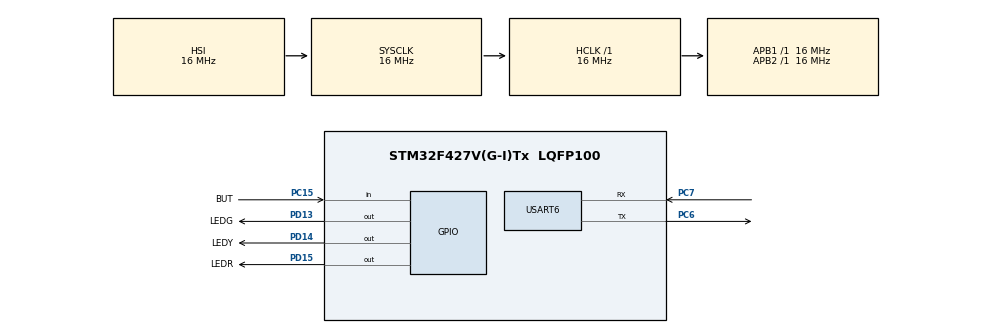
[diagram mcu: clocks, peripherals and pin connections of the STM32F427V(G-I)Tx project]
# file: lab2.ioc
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Mcu.Family=STM32F4
Mcu.Name=STM32F427V(G-I)Tx
Mcu.Package=LQFP100
NVIC.PriorityGroup=NVIC_PRIORITYGROUP_4
NVIC.TIM1_UP_TIM10_IRQn=true\:0\:0\:false\:false\:true\:true\:true\:true
NVIC.USART6_IRQn=true\:0\:0\:false\:false\:true\:true\:true\:true
PA10.Signal=S_TIM1_CH3
PA13.Mode=JTAG_5_pins
PA13.Signal=SYS_JTMS-SWDIO
PA14.Mode=JTAG_5_pins
PA14.Signal=SYS_JTCK-SWCLK
PA15.Mode=JTAG_5_pins
PA15.Signal=SYS_JTDI
PB3.Mode=JTAG_5_pins
PB3.Signal=SYS_JTDO-SWO
PB4.Mode=JTAG_5_pins
PB4.Signal=SYS_JTRST
PC15/OSC32_OUT.GPIO_Label=BUT
PC15/OSC32_OUT.Signal=GPIO_Input
PC6.Mode=Asynchronous
PC6.Signal=USART6_TX
PC7.Mode=Asynchronous
PC7.Signal=USART6_RX
PD13.GPIO_Label=LEDG
PD13.Signal=GPIO_Output
PD14.GPIO_Label=LEDY
PD14.Signal=GPIO_Output
PD15.GPIO_Label=LEDR
PD15.Signal=GPIO_Output
PH0/OSC_IN.Mode=HSE-External-Oscillator
PH0/OSC_IN.Signal=RCC_OSC_IN
PH1/OSC_OUT.Mode=HSE-External-Oscillator
PH1/OSC_OUT.Signal=RCC_OSC_OUT
ProjectManager.HeapSize=0x200
ProjectManager.StackSize=0x400
ProjectManager.TargetToolchain=STM32CubeIDE
RCC.AHBFreq_Value=16000000
RCC.APB1Freq_Value=16000000
RCC.APB2Freq_Value=16000000
RCC.CortexFreq_Value=16000000
RCC.HSE_VALUE=25000000
RCC.HSI_VALUE=16000000
RCC.LSE_VALUE=32768
RCC.SYSCLKFreq_VALUE=16000000
RCC.VCOOutputFreq_Value=192000000
SH.S_TIM1_CH3.0=TIM1_CH3
TIM1.Channel-Output\ Compare3\ No\ Output=TIM_CHANNEL_3
TIM1.Period=15-1
TIM1.Prescaler=16000-1
USART6.VirtualMode=VM_ASYNC
VP_TIM1_VS_no_output3.Mode=Output Compare3 No Output
board=custom

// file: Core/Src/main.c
/* USER CODE BEGIN Header */
/**
  ******************************************************************************
  * @file           : main.c
  * @brief          : Main program body
  ******************************************************************************
  * @attention
  *
  * Copyright (c) 2023 STMicroelectronics.
  * All rights reserved.
  *
  * This software is licensed under terms that can be found in the LICENSE file
  * in the root directory of this software component.
  * If no LICENSE file comes with this software, it is provided AS-IS.
  *
  ******************************************************************************
  */
/* USER CODE END Header */
#include "main.h"

/* USER CODE BEGIN Includes */
#include "leds.h"
#include "morze.h"
#include "uart_irq.h"
/* USER CODE END Includes */

/* USER CODE BEGIN PTD */
#define LONG_PERIOD_CT 125
#define BETWEEN_LETTERS_PERIOD_CT 250
#define BUFFER_SIZE 2048
#define DEFAULT_DELAY 50
#define ERROR_DELAY 600
#define ERROR_COUNT 2
#define COMMA_DELAY DEFAULT_DELAY
#define DASH_DELAY 100
/* USER CODE END PTD */

TIM_HandleTypeDef htim1;

UART_HandleTypeDef huart6;

/* USER CODE BEGIN PV */
int is_pressed = 0; // нажата ли кнопка, устанавливается в таймере
int is_wait_unpressed = 0; // ожидаем ли отпускание кнопки
int is_reading = 1; // есть ли что в памяти чтобы читать (можно pointer сделать глобальным и проверять на ноль
int count_tick = 0; // кол-во тиков таймера в текущем состоянии is_pressed, устанавливается в таймере
int noisy = 0; // доп проверка для дребезга
int has_irq = 0; //есть ли прерывания сейчас
int dash_delay = 0; // пауза тире
int comma_delay = 0; // пауза точки
int is_green = 0; // горит ли зелёный светодиод
int default_delay = 0; //пауза между символами

int buffer[BUFFER_SIZE] = {0}; //нули и единицы с кнопки
int buf_ptr = 0;

int int_w_buf[BUFFER_SIZE] = {0}; //конвертированные данные с uart
int int_w_ptr = 0;
int writing_ptr = 0; //указатель на текущий конец сообщения
int current_write_ptr = 0; // в каком месте буфера мы сейчас печатаем
/* USER CODE END PV */

void SystemClock_Config(void);
static void MX_GPIO_Init(void);
static void MX_TIM1_Init(void);
static void MX_USART6_UART_Init(void);

int main(void)
{

  /* MCU Configuration--------------------------------------------------------*/

  /* Reset of all peripherals, Initializes the Flash interface and the Systick. */
  HAL_Init();

  /* Configure the system clock */
  SystemClock_Config();

  /* Initialize all configured peripherals */
  MX_GPIO_Init();
  MX_TIM1_Init();
  MX_USART6_UART_Init();

  /* Infinite loop */
  /* USER CODE BEGIN WHILE */
  uint8_t str = '2';
  has_irq = 0;

  HAL_TIM_Base_Start_IT((TIM_HandleTypeDef *)&htim1);
  while (1)
  {
	  int ret = receive_uart(&huart6, &str, has_irq);
	  if (ret > 0) { //есть что сконвертировать в 0 и 1
			char* res = char_to_morze(str);
			if (res[0] == '+') {
				has_irq = (has_irq + 1) % 2;
				if (has_irq == 1) {
					send_buffer_if_not_empty_IT(&huart6);
					NVIC_EnableIRQ(USART6_IRQn); // enable interrupts
				} else NVIC_DisableIRQ(USART6_IRQn); // disable interrupts
			}else if(res[0] == '-') {
				//char i = '!';
				//send_uart(&huart6, &i , 1, has_irq);
			} else {
				for (int i = 0; i < strlen(res); i++) {
					int_w_buf[writing_ptr] = res[i] - '0';
					writing_ptr++;
				}
			}

	  }
	  if (0 == is_pressed && 0 == is_wait_unpressed) { // нопка не нажата
		  if (buf_ptr != 0 && count_tick > BETWEEN_LETTERS_PERIOD_CT) {
			  uint8_t to_write = morze_to_str(buffer, buf_ptr);
			  buf_ptr = 0;
			  send_uart(&huart6, &to_write, 1, has_irq);
		  }
	  } else if (0 == is_pressed && 1 == is_wait_unpressed) { //кнопку отпустили
		 is_wait_unpressed = 0;
		 if (count_tick > LONG_PERIOD_CT) { // вносим 1 или 0 в буфер на отправку
			 turn_on_red_led();
			 HAL_Delay(DEFAULT_DELAY);
			 turn_off_red_led();
			 buffer[buf_ptr] = 1;
		 } else {
			 turn_on_yellow_led();
			 HAL_Delay(DEFAULT_DELAY);
			 turn_off_yellow_led();
			 buffer[buf_ptr] = 0;
		 }
		 count_tick = 0;
		 buf_ptr++;
		 if (BUFFER_SIZE == buf_ptr) {
			 for (int i = 0; i < ERROR_COUNT; i++) { //если буфер переполнится
				 turn_on_red_led();
				 turn_on_green_led();
				 HAL_Delay(ERROR_DELAY);
				 turn_off_red_led();
				 turn_off_green_led();
				 HAL_Delay(ERROR_DELAY);
			 }
			 buf_ptr = 0;
		 }
	  } else if (1 == is_pressed && 0 == is_wait_unpressed) { //кнопку нажали -- ждём когда отпустят
		  is_wait_unpressed = 1;
		  count_tick = 0;
	  }

	  send_buffer_if_not_empty(&huart6);
  }

  /* USER CODE END 3 */
}

void SystemClock_Config(void)
{
  RCC_OscInitTypeDef RCC_OscInitStruct = {0};
  RCC_ClkInitTypeDef RCC_ClkInitStruct = {0};

  /** Configure the main internal regulator output voltage
  */
  __HAL_RCC_PWR_CLK_ENABLE();
  __HAL_PWR_VOLTAGESCALING_CONFIG(PWR_REGULATOR_VOLTAGE_SCALE3);

  /** Initializes the RCC Oscillators according to the specified parameters
  * in the RCC_OscInitTypeDef structure.
  */
  RCC_OscInitStruct.OscillatorType = RCC_OSCILLATORTYPE_HSI;
  RCC_OscInitStruct.HSIState = RCC_HSI_ON;
  RCC_OscInitStruct.HSICalibrationValue = RCC_HSICALIBRATION_DEFAULT;
  RCC_OscInitStruct.PLL.PLLState = RCC_PLL_NONE;
  if (HAL_RCC_OscConfig(&RCC_OscInitStruct) != HAL_OK)
  {
    Error_Handler();
  }

  /** Initializes the CPU, AHB and APB buses clocks
  */
  RCC_ClkInitStruct.ClockType = RCC_CLOCKTYPE_HCLK|RCC_CLOCKTYPE_SYSCLK
                              |RCC_CLOCKTYPE_PCLK1|RCC_CLOCKTYPE_PCLK2;
  RCC_ClkInitStruct.SYSCLKSource = RCC_SYSCLKSOURCE_HSI;
  RCC_ClkInitStruct.AHBCLKDivider = RCC_SYSCLK_DIV1;
  RCC_ClkInitStruct.APB1CLKDivider = RCC_HCLK_DIV1;
  RCC_ClkInitStruct.APB2CLKDivider = RCC_HCLK_DIV1;

  if (HAL_RCC_ClockConfig(&RCC_ClkInitStruct, FLASH_LATENCY_0) != HAL_OK)
  {
    Error_Handler();
  }
}

static void MX_TIM1_Init(void)
{

  TIM_MasterConfigTypeDef sMasterConfig = {0};
  TIM_OC_InitTypeDef sConfigOC = {0};
  TIM_BreakDeadTimeConfigTypeDef sBreakDeadTimeConfig = {0};

  htim1.Instance = TIM1;
  htim1.Init.Prescaler = 16000-1;
  htim1.Init.CounterMode = TIM_COUNTERMODE_UP;
  htim1.Init.Period = 16-1;
  htim1.Init.ClockDivision = TIM_CLOCKDIVISION_DIV1;
  htim1.Init.RepetitionCounter = 0;
  htim1.Init.AutoReloadPreload = TIM_AUTORELOAD_PRELOAD_DISABLE;
  if (HAL_TIM_OC_Init(&htim1) != HAL_OK)
  {
    Error_Handler();
  }
  sMasterConfig.MasterOutputTrigger = TIM_TRGO_RESET;
  sMasterConfig.MasterSlaveMode = TIM_MASTERSLAVEMODE_DISABLE;
  if (HAL_TIMEx_MasterConfigSynchronization(&htim1, &sMasterConfig) != HAL_OK)
  {
    Error_Handler();
  }
  sConfigOC.OCMode = TIM_OCMODE_TIMING;
  sConfigOC.Pulse = 0;
  sConfigOC.OCPolarity = TIM_OCPOLARITY_HIGH;
  sConfigOC.OCNPolarity = TIM_OCNPOLARITY_HIGH;
  sConfigOC.OCFastMode = TIM_OCFAST_DISABLE;
  sConfigOC.OCIdleState = TIM_OCIDLESTATE_RESET;
  sConfigOC.OCNIdleState = TIM_OCNIDLESTATE_RESET;
  if (HAL_TIM_OC_ConfigChannel(&htim1, &sConfigOC, TIM_CHANNEL_3) != HAL_OK)
  {
    Error_Handler();
  }
  sBreakDeadTimeConfig.OffStateRunMode = TIM_OSSR_DISABLE;
  sBreakDeadTimeConfig.OffStateIDLEMode = TIM_OSSI_DISABLE;
  sBreakDeadTimeConfig.LockLevel = TIM_LOCKLEVEL_OFF;
  sBreakDeadTimeConfig.DeadTime = 0;
  sBreakDeadTimeConfig.BreakState = TIM_BREAK_DISABLE;
  sBreakDeadTimeConfig.BreakPolarity = TIM_BREAKPOLARITY_HIGH;
  sBreakDeadTimeConfig.AutomaticOutput = TIM_AUTOMATICOUTPUT_DISABLE;
  if (HAL_TIMEx_ConfigBreakDeadTime(&htim1, &sBreakDeadTimeConfig) != HAL_OK)
  {
    Error_Handler();
  }

}

static void MX_USART6_UART_Init(void)
{

  huart6.Instance = USART6;
  huart6.Init.BaudRate = 115200;
  huart6.Init.WordLength = UART_WORDLENGTH_8B;
  huart6.Init.StopBits = UART_STOPBITS_1;
  huart6.Init.Parity = UART_PARITY_NONE;
  huart6.Init.Mode = UART_MODE_TX_RX;
  huart6.Init.HwFlowCtl = UART_HWCONTROL_NONE;
  huart6.Init.OverSampling = UART_OVERSAMPLING_16;
  if (HAL_UART_Init(&huart6) != HAL_OK)
  {
    Error_Handler();
  }

}

static void MX_GPIO_Init(void)
{
  GPIO_InitTypeDef GPIO_InitStruct = {0};

  /* GPIO Ports Clock Enable */
  __HAL_RCC_GPIOC_CLK_ENABLE();
  __HAL_RCC_GPIOH_CLK_ENABLE();
  __HAL_RCC_GPIOD_CLK_ENABLE();
  __HAL_RCC_GPIOA_CLK_ENABLE();
  __HAL_RCC_GPIOB_CLK_ENABLE();

  /*Configure GPIO pin Output Level */
  HAL_GPIO_WritePin(GPIOD, LEDG_Pin|LEDY_Pin|LEDR_Pin, GPIO_PIN_RESET);

  /*Configure GPIO pin : BUT_Pin */
  GPIO_InitStruct.Pin = BUT_Pin;
  GPIO_InitStruct.Mode = GPIO_MODE_INPUT;
  GPIO_InitStruct.Pull = GPIO_NOPULL;
  HAL_GPIO_Init(BUT_GPIO_Port, &GPIO_InitStruct);

  /*Configure GPIO pins : LEDG_Pin LEDY_Pin LEDR_Pin */
  GPIO_InitStruct.Pin = LEDG_Pin|LEDY_Pin|LEDR_Pin;
  GPIO_InitStruct.Mode = GPIO_MODE_OUTPUT_PP;
  GPIO_InitStruct.Pull = GPIO_NOPULL;
  GPIO_InitStruct.Speed = GPIO_SPEED_FREQ_LOW;
  HAL_GPIO_Init(GPIOD, &GPIO_InitStruct);

}

/* USER CODE BEGIN 4 */

void HAL_TIM_PeriodElapsedCallback(TIM_HandleTypeDef *htim)
{
	if(htim->Instance==TIM1){

		int but = HAL_GPIO_ReadPin(BUT_GPIO_Port, BUT_Pin);
		but = !but;

		if(but == 1 && noisy == 0){
			noisy = 1;
		} else if(but == 1 && noisy == 1) {
			is_pressed = 1;
			count_tick++;
		} else if(noisy == 1 && but == 0){
			noisy = 0;
		} else if(but == 0 && noisy == 0){
			is_pressed = 0;
			count_tick++;
		}

    if(writing_ptr > 0){
			if(is_green){ //надо выключить
				if (dash_delay > 0){
					if (dash_delay < DASH_DELAY){ // ждём пока пауза не пройдёт
						dash_delay++;
					}else{ // пауза прошла -- меняем сигнал
						dash_delay = 0;
						turn_off_green_led();
						is_green = 0;
						current_write_ptr++;
					}
				}else if(comma_delay > 0){
					if (comma_delay < COMMA_DELAY){ // ждём пока пауза не пройдёт
						comma_delay++;
					}else{ // пауза прошла -- меняем сигнал
						comma_delay = 0;
						turn_off_green_led();
						is_green = 0;
						current_write_ptr++;
					}
				}
			}else{ //надо включить
				if (default_delay > DEFAULT_DELAY){ // ждём следующего момента выводить?
					// зажигаем зелёный цвет и включаем флаги ожидания
					default_delay = 0;
					turn_on_green_led();
					is_green = 1;
					if(int_w_buf[current_write_ptr] == 1){
						dash_delay = 1;
					}else{
						comma_delay = 1;
					}
				}else{ // пока ещё ждём
					default_delay++;
				}

			}

			if(current_write_ptr == writing_ptr){ // TODO: проверить, что прерывания не ломают writing_ptr
				current_write_ptr = 0;
				writing_ptr = 0;
			}
		}

	}

}
/* USER CODE END 4 */

void Error_Handler(void)
{
  __disable_irq();
  while (1)
  {
  }
}
